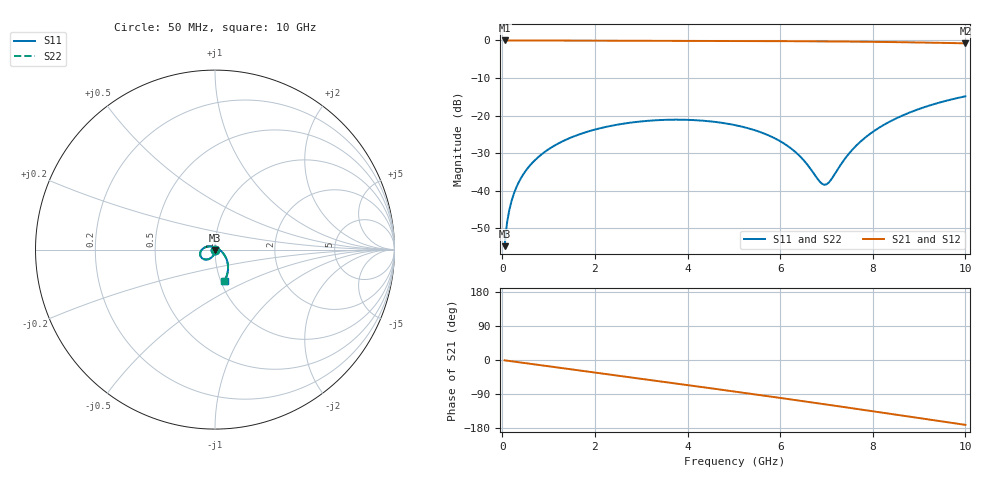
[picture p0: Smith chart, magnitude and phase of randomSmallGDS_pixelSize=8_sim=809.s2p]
! freq	dB(S11)	phase(S11)	dB(S12)	phase(S12)
!  dB(S21)	phase(S21)	dB(S22)	phase(S22)
!S-par simulation data
#  GHz  S  DB  R 50
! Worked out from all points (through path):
!   200 points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, 50 MHz to 10 GHz, reference 50 ohm
!   highest |S21| = 0.00 dB at 50 MHz (marker M1); lowest = -0.8 dB at 10 GHz (marker M2)
!   group delay of S21, straight-line fit = 47.4 ps
!   lowest |S11| = -54.7 dB at 50 MHz (marker M3), VSWR 1.00, Z = 50 - j0.183 ohm
!   |S11| at or under -10 dB: start of sweep to end of sweep
!   |S22| runs from -54.7 to -14.9 dB; largest |S21 - S12| = 0
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0.05  -54.74 -90.4  -0.00 -0.9  -0.00 -0.9  -54.74 -90.4
0.1  -48.72 -91.6  -0.00 -1.7  -0.00 -1.7  -48.72 -91.6
0.2  -42.70 -93.6  -0.01 -3.3  -0.01 -3.3  -42.70 -93.6
0.35  -37.85 -96.4  -0.01 -5.8  -0.01 -5.8  -37.85 -96.4
0.5  -34.78 -99.1  -0.01 -8.3  -0.01 -8.3  -34.78 -99.1
0.7  -31.91 -102.5  -0.02 -11.6  -0.02 -11.6  -31.91 -102.5
1  -28.95 -107.7  -0.02 -16.6  -0.02 -16.6  -28.95 -107.7
1.75  -24.63 -120.4  -0.05 -29.0  -0.05 -29.0  -24.63 -120.4
2.5  -22.37 -133.1  -0.07 -41.3  -0.07 -41.3  -22.37 -133.1
3.4  -21.18 -148.5  -0.10 -56.2  -0.10 -56.2  -21.18 -148.5
4.25  -21.28 -163.6  -0.12 -70.4  -0.12 -70.4  -21.28 -163.5
5.05  -22.59 -178.8  -0.15 -83.8  -0.15 -83.8  -22.59 -178.8
5.6  -24.52 169.2  -0.17 -93.2  -0.17 -93.2  -24.52 169.3
6.05  -27.17 157.1  -0.19 -100.9  -0.19 -100.9  -27.17 157.3
6.4  -30.49 143.2  -0.21 -107.0  -0.21 -107.0  -30.50 143.4
6.7  -34.93 119.6  -0.23 -112.2  -0.23 -112.2  -34.96 119.9
6.9  -38.10 83.3  -0.24 -115.7  -0.24 -115.7  -38.19 83.6
7  -38.29 57.2  -0.25 -117.5  -0.25 -117.5  -38.39 57.1
7.65  -27.90 -17.8  -0.32 -129.0  -0.32 -129.0  -27.91 -18.0
8.35  -21.71 -39.1  -0.42 -141.5  -0.42 -141.5  -21.71 -39.3
9.1  -17.81 -55.5  -0.56 -155.0  -0.56 -155.0  -17.81 -55.6
10  -14.86 -72.9  -0.76 -171.2  -0.76 -171.2  -14.86 -73.0
